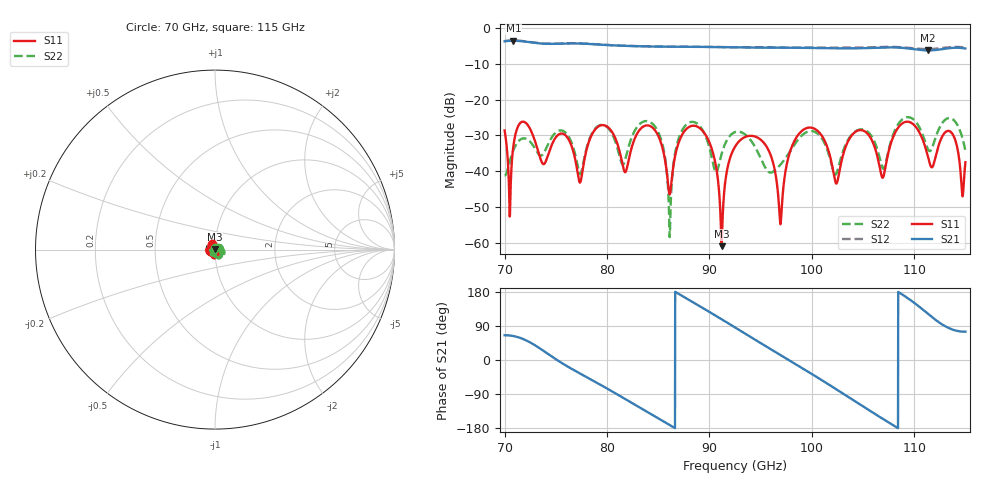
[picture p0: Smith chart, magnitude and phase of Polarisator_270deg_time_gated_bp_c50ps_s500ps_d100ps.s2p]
# Hz S RI R 1.000000
! Metas.Vna.Tools, 2.4.7898.19887
! Metas.Vna.Data, 2.4.7898.19873
! Created: UTC 2021.09.30 14:31:00
! FREQ  re:S1,1  im:S1,1  re:S2,1  im:S2,1  re:S1,2  im:S1,2  re:S2,2  im:S2,2
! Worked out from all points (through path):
!   2251 points, 70 GHz to 115 GHz, reference 1 ohm
!   highest |S21| = -3.60 dB at 70.86 GHz (marker M1); lowest = -6.3 dB at 111.4 GHz (marker M2)
!   lowest |S11| = -60.8 dB at 91.2 GHz (marker M3), VSWR 1.00, Z = 1 + j0.00175 ohm
!   |S11| at or under -10 dB: start of sweep to end of sweep
!   |S22| runs from -58.3 to -24.9 dB; largest |S21 - S12| = 0.1
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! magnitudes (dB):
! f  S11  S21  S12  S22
! 70 GHz  -28.6  -3.8  -3.7  -41.1
! 70.48 GHz  -50.5  -3.6  -3.5  -37.5
! 70.86 GHz  -32.9  -3.6  -3.5  -34.1
! 75.74 GHz  -29.6  -4.4  -4.3  -28.8
! 77.5 GHz  -41.8  -4.4  -4.3  -40.2
! 79.24 GHz  -27.3  -4.7  -4.6  -27.2
! 81.76 GHz  -40.2  -5.0  -5.0  -36.9
! 85 GHz  -30.1  -5.2  -5.2  -29.0
! 86.12 GHz  -46.4  -5.3  -5.2  -58.3
! 87.08 GHz  -31.4  -5.3  -5.2  -30.2
! 88.9 GHz  -27.7  -5.3  -5.3  -26.9
! 91.2 GHz  -60.8  -5.4  -5.4  -35.1
! 92.5 GHz  -33.1  -5.5  -5.4  -29.1
! 95.44 GHz  -32.5  -5.5  -5.4  -38.9
! 96.94 GHz  -54.7  -5.5  -5.4  -38.1
! 98.04 GHz  -33.2  -5.5  -5.5  -33.7
! 100 GHz  -27.8  -5.6  -5.5  -28.8
! 102.4 GHz  -43.4  -5.7  -5.5  -40.7
! 104.4 GHz  -28.8  -5.7  -5.5  -28.7
! 107.5 GHz  -34.5  -5.4  -5.3  -34.1
! 111.4 GHz  -36.1  -6.3  -5.9  -33.9
! 115 GHz  -37.5  -5.8  -5.5  -34.3
